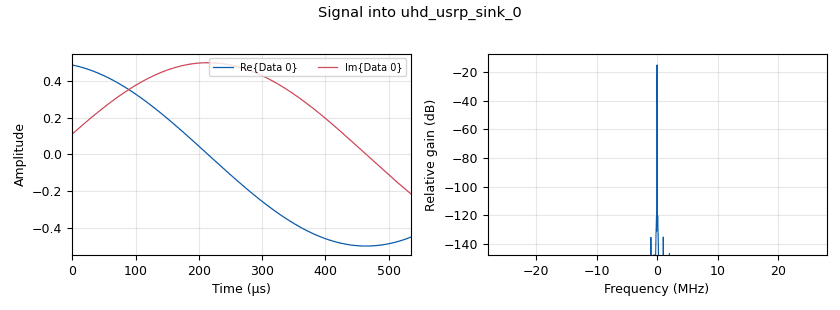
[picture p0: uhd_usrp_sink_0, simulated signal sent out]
<?xml version='1.0' encoding='utf-8'?>
<?grc format='1' created='3.7.8'?>
<flow_graph>
<block>
<key>options</key>
<param><key>id</key><value>top_block</value></param>
<param><key>author</key><value>samcarey</value></param>
<param><key>category</key><value>Custom</value></param>
<param><key>generate_options</key><value>wx_gui</value></param>
<param><key>title</key><value>Test1</value></param>
</block>
<block>
<key>variable</key>
<param><key>id</key><value>bandCount</value></param>
<param><key>value</key><value>0</value></param>
</block>
<block>
<key>variable</key>
<param><key>id</key><value>centerFreq</value></param>
<param><key>value</key><value>0</value></param>
</block>
<block>
<key>variable</key>
<param><key>id</key><value>fftSize</value></param>
<param><key>value</key><value>1024</value></param>
</block>
<block>
<key>variable</key>
<param><key>id</key><value>freq1</value></param>
<param><key>value</key><value>0</value></param>
</block>
<block>
<key>variable</key>
<param><key>id</key><value>freq2</value></param>
<param><key>value</key><value>0</value></param>
</block>
<block>
<key>variable</key>
<param><key>id</key><value>freq3</value></param>
<param><key>value</key><value>0</value></param>
</block>
<block>
<key>variable</key>
<param><key>id</key><value>freqsPerBand</value></param>
<param><key>value</key><value>instBW / resFreq</value></param>
</block>
<block>
<key>variable</key>
<param><key>id</key><value>instBW</value></param>
<param><key>value</key><value>56e6</value></param>
</block>
<block>
<key>variable</key>
<param><key>id</key><value>resFreq</value></param>
<param><key>value</key><value>22.5e6</value></param>
</block>
<block>
<key>variable</key>
<param><key>id</key><value>samp_rate</value></param>
<param><key>value</key><value>instBW</value></param>
</block>
<block>
<key>variable</key>
<param><key>id</key><value>startFreq</value></param>
<param><key>value</key><value>500e6</value></param>
</block>
<block>
<key>variable</key>
<param><key>id</key><value>stopFreq</value></param>
<param><key>value</key><value>5e9</value></param>
</block>
<block>
<key>variable</key>
<param><key>id</key><value>variable_1</value></param>
<param><key>value</key><value>0</value></param>
</block>
<block>
<key>analog_sig_source_x</key>
<param><key>id</key><value>analog_sig_source_x_0</value></param>
<param><key>amp</key><value>0.5</value></param>
<param><key>freq</key><value>1000</value></param>
<param><key>offset</key><value>0</value></param>
<param><key>type</key><value>complex</value></param>
<param><key>samp_rate</key><value>samp_rate</value></param>
<param><key>waveform</key><value>analog.GR_COS_WAVE</value></param>
</block>
<block>
<key>analog_sig_source_x</key>
<param><key>id</key><value>analog_sig_source_x_0_0</value></param>
<param><key>amp</key><value>0.5</value></param>
<param><key>freq</key><value>6000</value></param>
<param><key>offset</key><value>0</value></param>
<param><key>type</key><value>complex</value></param>
<param><key>samp_rate</key><value>samp_rate</value></param>
<param><key>waveform</key><value>analog.GR_COS_WAVE</value></param>
</block>
<block>
<key>uhd_amsg_source</key>
<param><key>id</key><value>uhd_amsg_source_0</value></param>
</block>
<block>
<key>uhd_usrp_sink</key>
<param><key>id</key><value>uhd_usrp_sink_0</value></param>
<param><key>ant0</key><value></value></param>
<param><key>center_freq0</key><value>0</value></param>
<param><key>norm_gain0</key><value>False</value></param>
<param><key>gain0</key><value>0</value></param>
<param><key>clock_rate</key><value>0.0</value></param>
<param><key>dev_addr</key><value></value></param>
<param><key>dev_args</key><value>""</value></param>
<param><key>type</key><value>fc32</value></param>
<param><key>len_tag_name</key><value></value></param>
<param><key>samp_rate</key><value>samp_rate</value></param>
<param><key>sync</key><value></value></param>
</block>
<block>
<key>uhd_usrp_source</key>
<param><key>id</key><value>uhd_usrp_source_0</value></param>
<param><key>ant0</key><value></value></param>
<param><key>center_freq0</key><value>0</value></param>
<param><key>norm_gain0</key><value>False</value></param>
<param><key>gain0</key><value>0</value></param>
<param><key>clock_rate</key><value>0.0</value></param>
<param><key>dev_addr</key><value></value></param>
<param><key>dev_args</key><value>""</value></param>
<param><key>type</key><value>fc32</value></param>
<param><key>samp_rate</key><value>samp_rate</value></param>
<param><key>sync</key><value></value></param>
</block>
<connection><source_block_id>analog_sig_source_x_0</source_block_id><sink_block_id>uhd_usrp_sink_0</sink_block_id><source_key>0</source_key><sink_key>0</sink_key></connection>
<connection><source_block_id>uhd_amsg_source_0</source_block_id><sink_block_id>uhd_usrp_source_0</sink_block_id><source_key>msg</source_key><sink_key>command</sink_key></connection>
</flow_graph>
